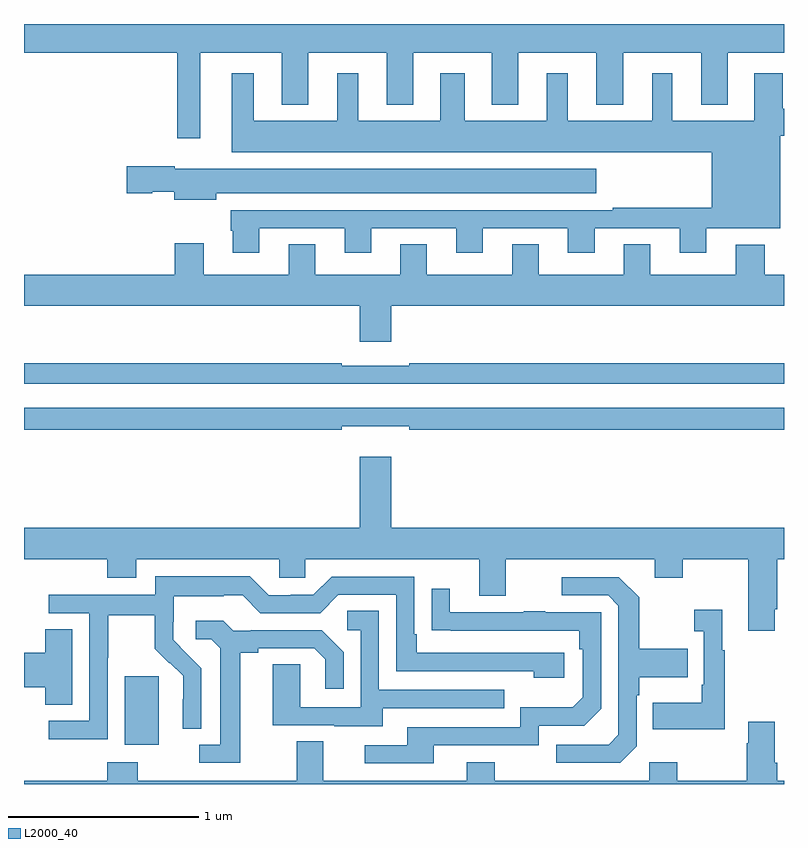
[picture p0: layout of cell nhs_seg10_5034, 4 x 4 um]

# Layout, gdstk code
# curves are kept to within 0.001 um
import gdstk
lib = gdstk.Library(unit=1e-6, precision=1e-09)
def R(c, l, rs):  # rectangles x0, y0, x1, y1
    for r in rs: c.add(gdstk.rectangle(r[:2], r[2:], *l))
def P(c, l, *ps):  # polygons
    for p in ps: c.add(gdstk.Polygon(p, *l))
L2000_40 = (2000, 40)

nhs_seg10_5034 = lib.new_cell('nhs_seg10_5034')
R(nhs_seg10_5034, L2000_40, [(403.529,1264.706,403.708,1265.067)])
P(nhs_seg10_5034, L2000_40, [(403.927,1268.348),(404.357,1268.348),(404.357,1268.075),(404.497,1268.075),(404.497,1268.348),(404.909,1268.348),(404.909,1268.075),(405.049,1268.075),(405.049,1268.348),(405.461,1268.348),(405.461,1268.075),(405.601,1268.075),(405.601,1268.348),(406.013,1268.348),(406.013,1268.075),(406.153,1268.075),(406.153,1268.348),(406.565,1268.348),(406.565,1268.075),(406.705,1268.075),(406.705,1268.348),(407,1268.348),(407,1268.5),(403,1268.5),(403,1268.348),(403.806,1268.348),(403.806,1267.899),(403.927,1267.899)],
  [(404.239,1267.425),(404.687,1267.425),(404.687,1267.296),(404.827,1267.296),(404.827,1267.425),(405.275,1267.425),(405.275,1267.296),(405.415,1267.296),(405.415,1267.425),(405.863,1267.425),(405.863,1267.296),(406.003,1267.296),(406.003,1267.425),(406.451,1267.425),(406.451,1267.296),(406.591,1267.296),(406.591,1267.424),(406.981,1267.424),(406.981,1267.913),(407,1267.913),(407,1268.055),(406.994,1268.055),(406.994,1268.242),(406.844,1268.242),(406.844,1267.99),(406.411,1267.99),(406.411,1268.242),(406.307,1268.242),(406.307,1267.99),(405.862,1267.99),(405.862,1268.242),(405.752,1268.242),(405.752,1267.99),(405.319,1267.99),(405.319,1268.242),(405.191,1268.242),(405.191,1267.99),(404.758,1267.99),(404.758,1268.242),(404.648,1268.242),(404.648,1267.99),(404.209,1267.99),(404.209,1268.242),(404.093,1268.242),(404.093,1267.826),(406.619,1267.826),(406.619,1267.534),(406.099,1267.534),(406.099,1267.521),(404.087,1267.521),(404.087,1267.413),(404.099,1267.413),(404.099,1267.296),(404.239,1267.296)],
  [(404.011,1267.61),(406.012,1267.61),(406.012,1267.738),(403.794,1267.738),(403.794,1267.751),(403.542,1267.751),(403.542,1267.609),(403.674,1267.609),(403.674,1267.616),(403.79,1267.616),(403.79,1267.574),(404.011,1267.574)],
  [(404.932,1267.016),(407,1267.016),(407,1267.18),(406.898,1267.18),(406.898,1267.339),(406.745,1267.339),(406.745,1267.18),(406.297,1267.18),(406.297,1267.34),(406.157,1267.34),(406.157,1267.18),(405.709,1267.18),(405.709,1267.34),(405.569,1267.34),(405.569,1267.18),(405.121,1267.18),(405.121,1267.34),(404.981,1267.34),(404.981,1267.18),(404.533,1267.18),(404.533,1267.34),(404.393,1267.34),(404.393,1267.18),(403.945,1267.18),(403.945,1267.345),(403.793,1267.345),(403.793,1267.18),(403,1267.18),(403,1267.016),(404.768,1267.016),(404.768,1266.828),(404.932,1266.828)],
  [(407,1266.715),(405.028,1266.715),(405.028,1266.702),(404.672,1266.702),(404.672,1266.715),(403,1266.715),(403,1266.606),(407,1266.606)],
  [(404.672,1266.383),(405.028,1266.383),(405.028,1266.364),(407,1266.364),(407,1266.48),(403,1266.48),(403,1266.364),(404.672,1266.364)],
  [(406.951,1265.419),(406.964,1265.419),(406.964,1265.684),(407,1265.684),(407,1265.848),(404.932,1265.848),(404.932,1266.223),(404.768,1266.223),(404.768,1265.848),(403,1265.848),(403,1265.684),(403.439,1265.684),(403.439,1265.585),(403.591,1265.585),(403.591,1265.684),(404.343,1265.684),(404.343,1265.586),(404.481,1265.586),(404.481,1265.684),(405.395,1265.684),(405.395,1265.49),(405.535,1265.49),(405.535,1265.684),(406.319,1265.684),(406.319,1265.585),(406.467,1265.585),(406.467,1265.684),(406.811,1265.684),(406.811,1265.307),(406.951,1265.307)],
  [(403.44,1265.164),(403.443,1265.164),(403.443,1265.388),(403.687,1265.388),(403.687,1265.213),(403.764,1265.136),(403.767,1265.139),(403.838,1265.069),(403.838,1264.946),(403.836,1264.946),(403.836,1264.792),(403.932,1264.792),(403.932,1265.11),(403.786,1265.258),(403.786,1265.355),(403.788,1265.355),(403.788,1265.489),(404.051,1265.489),(404.051,1265.493),(404.151,1265.493),(404.244,1265.4),(404.559,1265.4),(404.655,1265.496),(404.958,1265.496),(404.958,1265.094),(405.683,1265.094),(405.683,1265.06),(405.844,1265.06),(405.844,1265.19),(405.067,1265.19),(405.067,1265.287),(405.054,1265.287),(405.054,1265.592),(404.619,1265.592),(404.523,1265.496),(404.405,1265.496),(404.405,1265.493),(404.289,1265.493),(404.189,1265.593),(403.692,1265.593),(403.692,1265.496),(403.131,1265.496),(403.131,1265.4),(403.344,1265.4),(403.344,1264.833),(403.131,1264.833),(403.131,1264.735),(403.44,1264.735)],
  [(406.224,1264.698),(406.224,1264.967),(406.237,1264.967),(406.237,1265.063),(406.493,1265.063),(406.493,1265.211),(406.237,1265.211),(406.237,1265.483),(406.131,1265.589),(405.831,1265.589),(405.831,1265.493),(406.074,1265.493),(406.128,1265.439),(406.128,1264.758),(406.077,1264.707),(405.801,1264.707),(405.801,1264.611),(406.137,1264.611)],
  [(405.157,1264.704),(405.708,1264.704),(405.708,1264.806),(405.948,1264.806),(406.038,1264.896),(406.038,1265.403),(405.743,1265.403),(405.743,1265.408),(405.631,1265.408),(405.631,1265.403),(405.241,1265.403),(405.241,1265.527),(405.145,1265.527),(405.145,1265.308),(405.922,1265.307),(405.922,1265.21),(405.942,1265.21),(405.942,1264.956),(405.889,1264.903),(405.612,1264.903),(405.612,1264.8),(405.017,1264.8),(405.017,1264.704),(404.793,1264.704),(404.793,1264.608),(405.157,1264.608)],
  [(406.687,1265.203),(406.675,1265.203),(406.675,1265.416),(406.527,1265.416),(406.527,1265.303),(406.578,1265.303),(406.578,1265.023),(406.566,1265.023),(406.566,1264.927),(406.309,1264.927),(406.309,1264.787),(406.687,1264.787)],
  [(404.887,1264.899),(405.527,1264.899),(405.527,1264.995),(404.868,1264.995),(404.868,1265.411),(404.7,1265.411),(404.7,1265.31),(404.772,1265.31),(404.772,1264.905),(404.454,1264.905),(404.454,1265.129),(404.309,1265.129),(404.309,1264.809),(404.633,1264.809),(404.633,1264.805),(404.887,1264.805)],
  [(404.137,1265.192),(404.233,1265.192),(404.233,1265.214),(404.528,1265.214),(404.585,1265.157),(404.585,1265.001),(404.682,1265.001),(404.682,1265.194),(404.566,1265.31),(404.194,1265.31),(404.194,1265.307),(404.1,1265.307),(404.048,1265.359),(403.905,1265.359),(403.905,1265.262),(403.986,1265.262),(404.033,1265.215),(404.033,1264.707),(403.923,1264.707),(403.923,1264.611),(404.137,1264.611)],
  [(403.255,1265.315),(403.112,1265.315),(403.112,1265.192),(403,1265.192),(403,1265.009),(403.112,1265.009),(403.112,1264.918),(403.255,1264.918)],
  [(407,1264.516),(406.964,1264.516),(406.964,1264.612),(406.951,1264.612),(406.951,1264.828),(406.811,1264.828),(406.811,1264.715),(406.804,1264.715),(406.804,1264.516),(406.437,1264.516),(406.437,1264.615),(406.29,1264.615),(406.29,1264.516),(405.477,1264.516),(405.477,1264.615),(405.329,1264.615),(405.329,1264.516),(404.575,1264.516),(404.575,1264.724),(404.435,1264.724),(404.435,1264.516),(403.599,1264.516),(403.599,1264.615),(403.439,1264.615),(403.439,1264.516),(403,1264.516),(403,1264.5),(407,1264.5)])

lib.write_gds('nhs_seg10_5034.gds')
